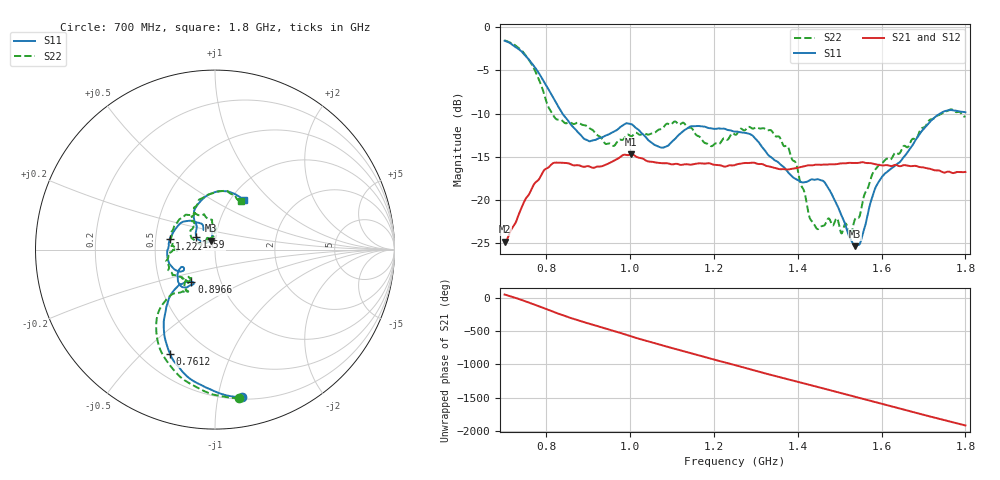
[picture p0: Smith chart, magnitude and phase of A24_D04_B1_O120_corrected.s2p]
! Created with skrf 1.9.0 (http://scikit-rf.org).
# Hz S RI R 50.0
!freq ReS11 ImS11 ReS21 ImS21 ReS12 ImS12 ReS22 ImS22
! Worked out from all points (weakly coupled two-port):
!   1601 points, 700 MHz to 1.8 GHz, reference 50 ohm
!   highest |S21| = -14.71 dB at 1.002 GHz (marker M1); lowest = -24.8 dB at 700 MHz (marker M2)
!   lowest |S11| = -25.3 dB at 1.536 GHz (marker M3), VSWR 1.11, Z = 47.5 + j4.66 ohm
!   |S11| at or under -10 dB: 838.3 MHz to 1.739 GHz (900.9 MHz wide, 69.9 % of centre)
!   |S22| runs from -24.2 to -1.5 dB; largest |S21 - S12| = 0.0032
!   S11 on the Smith chart (normalised r, x): 700 MHz: 0.22, -1.18; 761.2 MHz: 0.31, -0.61; 896.6 MHz: 0.72, -0.27; 1.222 GHz: 0.59, +0.07; 1.59 GHz: 0.81, +0.11; 1.8 GHz: 1.15, +0.71
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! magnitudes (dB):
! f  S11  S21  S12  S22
! 700 MHz  -1.6  -24.8  -24.6  -1.5
! 761.2 MHz  -4.0  -19.1  -19.0  -4.0
! 819.6 MHz  -8.4  -15.7  -15.8  -10.5
! 883.6 MHz  -12.6  -16.1  -16.0  -11.2
! 896.6 MHz  -13.1  -16.1  -16.2  -11.5
! 957.8 MHz  -12.2  -15.5  -15.5  -13.7
! 1.002 GHz  -11.2  -14.7  -14.8  -12.6
! 1.067 GHz  -13.8  -15.7  -15.7  -11.9
! 1.145 GHz  -11.5  -15.9  -15.9  -11.6
! 1.222 GHz  -11.7  -16.1  -16.1  -12.9
! 1.25 GHz  -12.1  -15.9  -15.9  -12.4
! 1.356 GHz  -15.8  -16.4  -16.4  -12.7
! 1.396 GHz  -17.6  -16.3  -16.3  -15.8
! 1.434 GHz  -17.6  -16.0  -15.9  -22.5
! 1.468 GHz  -18.3  -15.9  -15.9  -22.5
! 1.525 GHz  -24.4  -15.7  -15.7  -24.2
! 1.536 GHz  -25.3  -15.7  -15.7  -22.3
! 1.55 GHz  -24.7  -15.6  -15.7  -21.3
! 1.59 GHz  -18.1  -15.9  -15.9  -16.1
! 1.617 GHz  -16.6  -16.0  -16.0  -15.3
! 1.731 GHz  -10.3  -16.6  -16.6  -10.3
! 1.8 GHz  -9.8  -16.7  -16.7  -10.3
